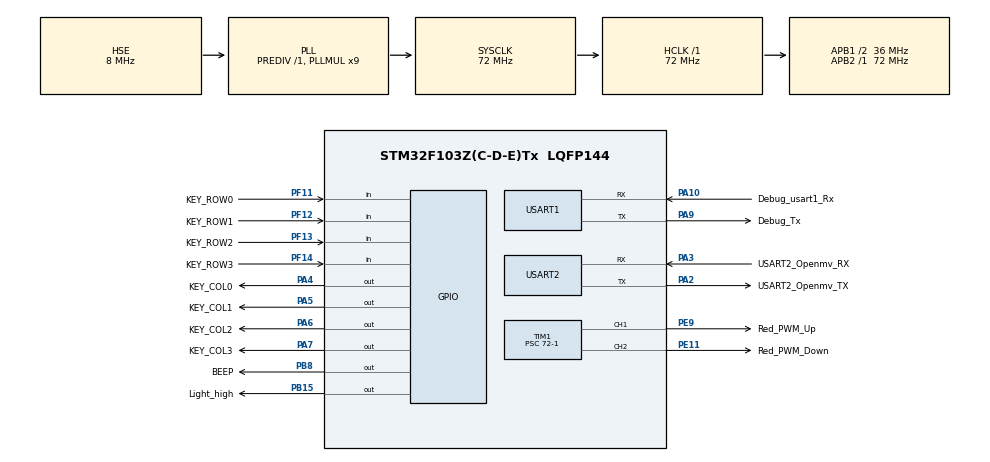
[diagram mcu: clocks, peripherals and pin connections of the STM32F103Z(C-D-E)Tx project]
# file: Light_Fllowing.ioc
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Mcu.Family=STM32F1
Mcu.Name=STM32F103Z(C-D-E)Tx
Mcu.Package=LQFP144
NVIC.PriorityGroup=NVIC_PRIORITYGROUP_2
NVIC.TIM7_IRQn=true\:3\:1\:true\:false\:true\:true\:true\:true
NVIC.USART1_IRQn=true\:2\:2\:true\:false\:true\:true\:true\:true
NVIC.USART2_IRQn=true\:0\:0\:true\:false\:true\:true\:true\:true
OSC_IN.Mode=HSE-External-Oscillator
OSC_IN.Signal=RCC_OSC_IN
OSC_OUT.Mode=HSE-External-Oscillator
OSC_OUT.Signal=RCC_OSC_OUT
PA10.GPIO_Label=Debug_usart1_Rx
PA10.Mode=Asynchronous
PA10.Signal=USART1_RX
PA13.Mode=Serial_Wire
PA13.Signal=SYS_JTMS-SWDIO
PA14.Mode=Serial_Wire
PA14.Signal=SYS_JTCK-SWCLK
PA2.GPIO_Label=USART2_Openmv_TX
PA2.Mode=Asynchronous
PA2.Signal=USART2_TX
PA3.GPIO_Label=USART2_Openmv_RX
PA3.Mode=Asynchronous
PA3.Signal=USART2_RX
PA4.GPIO_Label=KEY_COL0
PA4.Signal=GPIO_Output
PA5.GPIO_Label=KEY_COL1
PA5.Signal=GPIO_Output
PA6.GPIO_Label=KEY_COL2
PA6.Signal=GPIO_Output
PA7.GPIO_Label=KEY_COL3
PA7.Signal=GPIO_Output
PA9.GPIO_Label=Debug_Tx
PA9.Mode=Asynchronous
PA9.Signal=USART1_TX
PB15.GPIO_Label=Light_high
PB15.PinState=GPIO_PIN_SET
PB15.Signal=GPIO_Output
PB8.GPIO_Label=BEEP
PB8.Signal=GPIO_Output
PE11.GPIO_Label=Red_PWM_Down
PE11.Signal=S_TIM1_CH2
PE9.GPIO_Label=Red_PWM_Up
PE9.Signal=S_TIM1_CH1
PF11.GPIO_Label=KEY_ROW0
PF11.GPIO_PuPd=GPIO_PULLUP
PF11.Signal=GPIO_Input
PF12.GPIO_Label=KEY_ROW1
PF12.GPIO_PuPd=GPIO_PULLUP
PF12.Signal=GPIO_Input
PF13.GPIO_Label=KEY_ROW2
PF13.GPIO_PuPd=GPIO_PULLUP
PF13.Signal=GPIO_Input
PF14.GPIO_Label=KEY_ROW3
PF14.GPIO_PuPd=GPIO_PULLUP
PF14.Signal=GPIO_Input
ProjectManager.HeapSize=0x200
ProjectManager.StackSize=0x400
ProjectManager.TargetToolchain=MDK-ARM V5.32
RCC.AHBFreq_Value=72000000
RCC.APB1CLKDivider=RCC_HCLK_DIV2
RCC.APB1Freq_Value=36000000
RCC.APB1TimFreq_Value=72000000
RCC.APB2Freq_Value=72000000
RCC.APB2TimFreq_Value=72000000
RCC.HCLKFreq_Value=72000000
RCC.PLLMUL=RCC_PLL_MUL9
RCC.PLLSourceVirtual=RCC_PLLSOURCE_HSE
RCC.SYSCLKFreq_VALUE=72000000
RCC.SYSCLKSource=RCC_SYSCLKSOURCE_PLLCLK
RCC.USBFreq_Value=72000000
SH.S_TIM1_CH1.0=TIM1_CH1,PWM Generation1 CH1
SH.S_TIM1_CH2.0=TIM1_CH2,PWM Generation2 CH2
TIM1.AutoReloadPreload=TIM_AUTORELOAD_PRELOAD_ENABLE
TIM1.Channel-PWM\ Generation1\ CH1=TIM_CHANNEL_1
TIM1.Channel-PWM\ Generation2\ CH2=TIM_CHANNEL_2
TIM1.Period=20000
TIM1.Prescaler=72-1
TIM1.Pulse-PWM\ Generation1\ CH1=1500
TIM1.Pulse-PWM\ Generation2\ CH2=1500
TIM7.AutoReloadPreload=TIM_AUTORELOAD_PRELOAD_ENABLE
TIM7.Period=200-1
TIM7.Prescaler=7200-1
USART1.VirtualMode=VM_ASYNC
USART2.VirtualMode=VM_ASYNC
VP_TIM7_VS_ClockSourceINT.Mode=Enable_Timer
board=custom

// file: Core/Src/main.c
/* USER CODE BEGIN Header */
/**
  ******************************************************************************
  * @file           : main.c
  * @brief          : Main program body
  ******************************************************************************
  * @attention
  *
  * Copyright (c) 2023 STMicroelectronics.
  * All rights reserved.
  *
  * This software is licensed under terms that can be found in the LICENSE file
  * in the root directory of this software component.
  * If no LICENSE file comes with this software, it is provided AS-IS.
  *
  ******************************************************************************
  */
/* USER CODE END Header */
#include "main.h"
#include "tim.h"
#include "usart.h"
#include "gpio.h"

/* USER CODE BEGIN Includes */
#include <stdio.h>
#include "bsp_sys.h"
#include "debug.h"
#include "control.h"
#include "openmv.h"
#include "key_board.h"
/* USER CODE END Includes */

void SystemClock_Config(void);

/* USER CODE BEGIN 0 */
// u8 test_debug = 0;//用来测试usart1串口通讯
u8 uart1_rxbuff = 0;
u8 uart2_rxbuff = 0;

u8 light_red_task = 0;

int count_key = 0;

u8 task_reg = 0;

/* USER CODE END 0 */

int main(void)
{

  /* MCU Configuration--------------------------------------------------------*/

  /* Reset of all peripherals, Initializes the Flash interface and the Systick. */
  HAL_Init();

  /* Configure the system clock */
  SystemClock_Config();

  /* Initialize all configured peripherals */
  MX_GPIO_Init();
  MX_USART1_UART_Init();
  MX_USART2_UART_Init();
  MX_TIM1_Init();
  MX_TIM7_Init();
  /* USER CODE BEGIN 2 */
	HAL_UART_Receive_IT(&huart1,(void *)&uart1_rxbuff,1);
	HAL_UART_Receive_IT(&huart2,(void *)&uart2_rxbuff,1);

	HAL_TIM_PWM_Start(&htim1,TIM_CHANNEL_1);
	HAL_TIM_PWM_Start(&htim1,TIM_CHANNEL_2);

	HAL_TIM_Base_Start_IT(&htim7);

	PID_param_init();
  /* USER CODE END 2 */

  /* Infinite loop */
  while (1)
  {

    /* USER CODE BEGIN 3 */
		if(light_red_task != 16)
		{
			if(light_red_task == 0)
			{
				PWM_Up = trans_angle_up(6.4);
				PWM_Down = trans_angle_down(14.4);
			}
			else if(light_red_task == 1)
			{
				PWM_Up = trans_angle_up(UP_CENTER);
				PWM_Down = trans_angle_down(DOWN_CENTER);
			}
			else if(light_red_task == 2)
			{
				light_red_task2();
			}
		}

			task_reg = KEY_SCAN();
			if(light_red_task == 4 && task_reg >= 5 && task_reg <= 8)
			{
				if(task_reg == 5)
				{
					up = 1;

				}
				else if(task_reg == 6)
				{
					down = 1;
				}
				else if(task_reg == 7)
				{

					right = 1;
				}
				else if(task_reg == 8)
				{
					left = 1;
				}
				task_reg = 4;
			}
			light_red_task = (task_reg == 0)?light_red_task:task_reg;
}
  /* USER CODE END 3 */
}

void SystemClock_Config(void)
{
  RCC_OscInitTypeDef RCC_OscInitStruct = {0};
  RCC_ClkInitTypeDef RCC_ClkInitStruct = {0};

  /** Initializes the RCC Oscillators according to the specified parameters
  * in the RCC_OscInitTypeDef structure.
  */
  RCC_OscInitStruct.OscillatorType = RCC_OSCILLATORTYPE_HSE;
  RCC_OscInitStruct.HSEState = RCC_HSE_ON;
  RCC_OscInitStruct.HSEPredivValue = RCC_HSE_PREDIV_DIV1;
  RCC_OscInitStruct.HSIState = RCC_HSI_ON;
  RCC_OscInitStruct.PLL.PLLState = RCC_PLL_ON;
  RCC_OscInitStruct.PLL.PLLSource = RCC_PLLSOURCE_HSE;
  RCC_OscInitStruct.PLL.PLLMUL = RCC_PLL_MUL9;
  if (HAL_RCC_OscConfig(&RCC_OscInitStruct) != HAL_OK)
  {
    Error_Handler();
  }

  /** Initializes the CPU, AHB and APB buses clocks
  */
  RCC_ClkInitStruct.ClockType = RCC_CLOCKTYPE_HCLK|RCC_CLOCKTYPE_SYSCLK
                              |RCC_CLOCKTYPE_PCLK1|RCC_CLOCKTYPE_PCLK2;
  RCC_ClkInitStruct.SYSCLKSource = RCC_SYSCLKSOURCE_PLLCLK;
  RCC_ClkInitStruct.AHBCLKDivider = RCC_SYSCLK_DIV1;
  RCC_ClkInitStruct.APB1CLKDivider = RCC_HCLK_DIV2;
  RCC_ClkInitStruct.APB2CLKDivider = RCC_HCLK_DIV1;

  if (HAL_RCC_ClockConfig(&RCC_ClkInitStruct, FLASH_LATENCY_2) != HAL_OK)
  {
    Error_Handler();
  }
}

/* USER CODE BEGIN 4 */

void HAL_UART_RxCpltCallback(UART_HandleTypeDef *huart)
{
		if(huart->Instance==USART1)
  {
		Debug_Rec(uart1_rxbuff- '0');
		HAL_UART_Receive_IT(&huart1,(void *)&uart1_rxbuff,1);
  }

	if(huart->Instance==USART2)
  {
		Openmv_Receive_Data(uart2_rxbuff);
		HAL_UART_Receive_IT(&huart2,(void *)&uart2_rxbuff,1);
  }
}

/* USER CODE END 4 */

void Error_Handler(void)
{
  __disable_irq();
  while (1)
  {
  }
}
